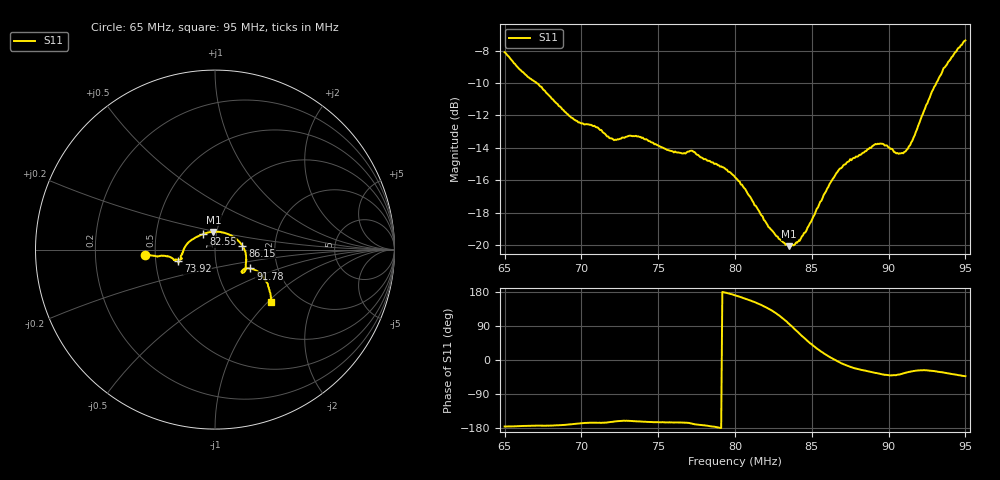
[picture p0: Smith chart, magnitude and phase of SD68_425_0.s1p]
! NanoVNA-App
! Date: 2025-08-09 16:37:18
! Start: 65MHz Stop: 95MHz Points: 401
! S-Parameter data: F S11
# Hz S RI R 50
!  Frequency  S11_Real  S11_Imag
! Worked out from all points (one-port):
!   401 points, 65 MHz to 95 MHz, reference 50 ohm
!   lowest |S11| = -20.1 dB at 83.53 MHz (marker M1), VSWR 1.22, Z = 48.2 + j9.61 ohm
!   |S11| at or under -10 dB: 67.08 MHz to 93.11 MHz (26.02 MHz wide, 32.5 % of centre)
!   S11 on the Smith chart (normalised r, x): 65 MHz: 0.44, -0.03; 73.92 MHz: 0.66, -0.09; 82.55 MHz: 0.87, +0.15; 86.15 MHz: 1.36, +0.06; 91.78 MHz: 1.45, -0.32; 95 MHz: 1.47, -1.05
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6.5e7  -0.3923 -0.0317
6.62e7  -0.3398 -0.0353
6.875e7  -0.2597 -0.0385
6.98e7  -0.2336 -0.0508
7.1e7  -0.2235 -0.0577
7.1975e7  -0.2044 -0.061
7.25e7  -0.2011 -0.0691
7.3925e7  -0.2043 -0.064
7.625e7  -0.1863 -0.0507
7.7225e7  -0.1912 -0.0403
7.9325e7  -0.1726 0.00556
8e7  -0.1598 0.0264
8.255e7  -0.0649 0.0874
8.3525e7  -0.00917 0.0988
8.375e7  0.0049 0.1001
8.4575e7  0.0616 0.0903
8.615e7  0.1523 0.0228
8.675e7  0.1698 -0.0143
8.75e7  0.1753 -0.0563
8.9075e7  0.1706 -0.1115
8.9675e7  0.1606 -0.127
9.065e7  0.1497 -0.1189
9.125e7  0.1678 -0.1056
9.1775e7  0.1972 -0.1053
9.245e7  0.2409 -0.1233
9.3425e7  0.2853 -0.1785
9.44e7  0.3085 -0.2475
9.5e7  0.314 -0.2908
